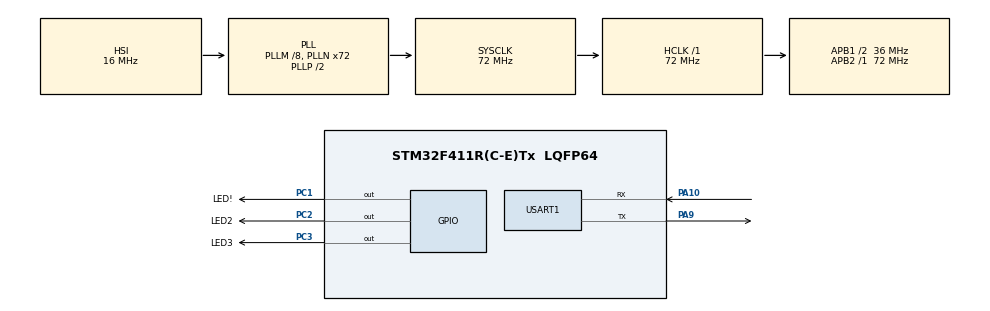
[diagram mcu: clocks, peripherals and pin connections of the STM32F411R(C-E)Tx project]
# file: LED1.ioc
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Mcu.Family=STM32F4
Mcu.Name=STM32F411R(C-E)Tx
Mcu.Package=LQFP64
NVIC.PriorityGroup=NVIC_PRIORITYGROUP_4
NVIC.TIM1_BRK_TIM9_IRQn=true\:0\:0\:false\:false\:true\:true\:true\:true
NVIC.TIM1_UP_TIM10_IRQn=true\:0\:0\:false\:false\:true\:true\:true\:true
NVIC.USART1_IRQn=true\:0\:0\:false\:false\:true\:true\:true\:true
PA10.Mode=Asynchronous
PA10.Signal=USART1_RX
PA9.Mode=Asynchronous
PA9.Signal=USART1_TX
PC1.GPIO_Label=LED\!
PC1.PinState=GPIO_PIN_SET
PC1.Signal=GPIO_Output
PC2.GPIO_Label=LED2
PC2.GPIO_Speed=GPIO_SPEED_FREQ_VERY_HIGH
PC2.PinState=GPIO_PIN_SET
PC2.Signal=GPIO_Output
PC3.GPIO_Label=LED3
PC3.GPIO_Speed=GPIO_SPEED_FREQ_VERY_HIGH
PC3.PinState=GPIO_PIN_SET
PC3.Signal=GPIO_Output
PH0\ -\ OSC_IN.Mode=HSE-External-Oscillator
PH0\ -\ OSC_IN.Signal=RCC_OSC_IN
PH1\ -\ OSC_OUT.Mode=HSE-External-Oscillator
PH1\ -\ OSC_OUT.Signal=RCC_OSC_OUT
ProjectManager.HeapSize=0x200
ProjectManager.StackSize=0x400
ProjectManager.TargetToolchain=MDK-ARM V5.32
RCC.48MHZClocksFreq_Value=36000000
RCC.AHBFreq_Value=72000000
RCC.APB1CLKDivider=RCC_HCLK_DIV2
RCC.APB1Freq_Value=36000000
RCC.APB1TimFreq_Value=72000000
RCC.APB2Freq_Value=72000000
RCC.APB2TimFreq_Value=72000000
RCC.CortexFreq_Value=72000000
RCC.HCLKFreq_Value=72000000
RCC.HSE_VALUE=25000000
RCC.HSI_VALUE=16000000
RCC.LSE_VALUE=32768
RCC.PLLM=8
RCC.PLLN=72
RCC.SYSCLKFreq_VALUE=72000000
RCC.SYSCLKSource=RCC_SYSCLKSOURCE_PLLCLK
RCC.VCOOutputFreq_Value=144000000
TIM1.Period=1000
TIM1.Prescaler=7200-1
USART1.VirtualMode=VM_ASYNC
VP_TIM1_VS_ClockSourceINT.Mode=Internal
board=custom

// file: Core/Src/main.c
/* USER CODE BEGIN Header */
/**
  ******************************************************************************
  * @file           : main.c
  * @brief          : Main program body
  ******************************************************************************
  * @attention
  *
  * Copyright (c) 2024 STMicroelectronics.
  * All rights reserved.
  *
  * This software is licensed under terms that can be found in the LICENSE file
  * in the root directory of this software component.
  * If no LICENSE file comes with this software, it is provided AS-IS.
  *
  ******************************************************************************
  */
/* USER CODE END Header */
#include "main.h"
#include "tim.h"
#include "usart.h"
#include "gpio.h"
#include <stdio.h>

void SystemClock_Config(void);

/* USER CODE BEGIN 0 */

int timerCounter=0;
void HAL_TIM_PeriodElapsedCallback(TIM_HandleTypeDef *htim){
    if(htim == &htim1){
        timerCounter++;
    }
}
/* USER CODE END 0 */

int main(void)
{

  /* MCU Configuration--------------------------------------------------------*/

  /* Reset of all peripherals, Initializes the Flash interface and the Systick. */
  HAL_Init();

  /* Configure the system clock */
  SystemClock_Config();

  /* Initialize all configured peripherals */
  MX_GPIO_Init();
  MX_TIM1_Init();
  MX_USART1_UART_Init();
  /* USER CODE BEGIN 2 */
  HAL_TIM_Base_Start_IT(&htim1);
  int TimerCounter=0;
  /* USER CODE END 2 */

  /* Infinite loop */
  /* USER CODE BEGIN WHILE */
  int C1ONSum=0,C1OFFSum=0;
  int C2ONSum=0,C2OFFSum=0;
  int C31ONSum=0,C31OFFSum=0,C32ONSum=0,C32OFFSum=0;
  int judgment1,judgment2,judgment3;
  int process1,process2,process3;
  printf("%d",TimerCounter);
  while (1)
  {
      TimerCounter=__HAL_TIM_GET_COUNTER(&htim1);
      if(judgment1==0){
          process1=(TimerCounter-(C1OFFSum*7))%5;
          if(process1==0){
              judgment1=1;
              C1ONSum++;
              HAL_GPIO_TogglePin(GPIOC, GPIO_PIN_1);
          }
      }else{
          process1=(TimerCounter-(C1ONSum*5))%7;
          if(process1==0){
              judgment1=0;
              C1OFFSum++;
              HAL_GPIO_TogglePin(GPIOC, GPIO_PIN_1);
          }
      }
       if(judgment2==0){
          process2=(TimerCounter-(C2OFFSum*40))%10;
          if(process2==0){
              judgment2=1;
              C2ONSum++;
              HAL_GPIO_TogglePin(GPIOC, GPIO_PIN_2);
          }
      }else{
          process2=(TimerCounter-(C2ONSum*10))%40;
          if(process2==0){
              judgment2=0;
              C2OFFSum++;
              HAL_GPIO_TogglePin(GPIOC, GPIO_PIN_2);
          }
      }

      if(judgment3==0){
          process3=(TimerCounter-(C31OFFSum*10)-(C32ONSum*50)-(C32OFFSum*3))%20;
          if(process3==0){
              judgment3=1;
              C31ONSum++;
              HAL_GPIO_TogglePin(GPIOC, GPIO_PIN_3);
          }
      }else if(judgment3==1){
          process3=(TimerCounter-(C31ONSum*20)-(C32ONSum*50)-(C32OFFSum*3))%10;
          if(process3==0){
              judgment3=2;
              C31OFFSum++;
              HAL_GPIO_TogglePin(GPIOC, GPIO_PIN_3);
          }
      }else if(judgment3==2){
         process3=(TimerCounter-(C31OFFSum*10)-(C31ONSum*20)-(C32OFFSum*3))%50;
          if(process3==0){
              judgment3=3;
              C32ONSum++;
              HAL_GPIO_TogglePin(GPIOC, GPIO_PIN_3);
          }
      }else{
          process3=(TimerCounter-(C31OFFSum*10)-(C32ONSum*50)-(C32ONSum*50))%3;
          if(process3==0){
              judgment3=0;
              C31OFFSum++;
              HAL_GPIO_TogglePin(GPIOC, GPIO_PIN_3);
          }
      }
    /* USER CODE END WHILE */

  }
}

void SystemClock_Config(void)
{
  RCC_OscInitTypeDef RCC_OscInitStruct = {0};
  RCC_ClkInitTypeDef RCC_ClkInitStruct = {0};

  /** Configure the main internal regulator output voltage
  */
  __HAL_RCC_PWR_CLK_ENABLE();
  __HAL_PWR_VOLTAGESCALING_CONFIG(PWR_REGULATOR_VOLTAGE_SCALE1);

  /** Initializes the RCC Oscillators according to the specified parameters
  * in the RCC_OscInitTypeDef structure.
  */
  RCC_OscInitStruct.OscillatorType = RCC_OSCILLATORTYPE_HSI;
  RCC_OscInitStruct.HSIState = RCC_HSI_ON;
  RCC_OscInitStruct.HSICalibrationValue = RCC_HSICALIBRATION_DEFAULT;
  RCC_OscInitStruct.PLL.PLLState = RCC_PLL_ON;
  RCC_OscInitStruct.PLL.PLLSource = RCC_PLLSOURCE_HSI;
  RCC_OscInitStruct.PLL.PLLM = 8;
  RCC_OscInitStruct.PLL.PLLN = 72;
  RCC_OscInitStruct.PLL.PLLP = RCC_PLLP_DIV2;
  RCC_OscInitStruct.PLL.PLLQ = 4;
  if (HAL_RCC_OscConfig(&RCC_OscInitStruct) != HAL_OK)
  {
    Error_Handler();
  }

  /** Initializes the CPU, AHB and APB buses clocks
  */
  RCC_ClkInitStruct.ClockType = RCC_CLOCKTYPE_HCLK|RCC_CLOCKTYPE_SYSCLK
                              |RCC_CLOCKTYPE_PCLK1|RCC_CLOCKTYPE_PCLK2;
  RCC_ClkInitStruct.SYSCLKSource = RCC_SYSCLKSOURCE_PLLCLK;
  RCC_ClkInitStruct.AHBCLKDivider = RCC_SYSCLK_DIV1;
  RCC_ClkInitStruct.APB1CLKDivider = RCC_HCLK_DIV2;
  RCC_ClkInitStruct.APB2CLKDivider = RCC_HCLK_DIV1;

  if (HAL_RCC_ClockConfig(&RCC_ClkInitStruct, FLASH_LATENCY_2) != HAL_OK)
  {
    Error_Handler();
  }
}

void Error_Handler(void)
{
  __disable_irq();
  while (1)
  {
  }
}
